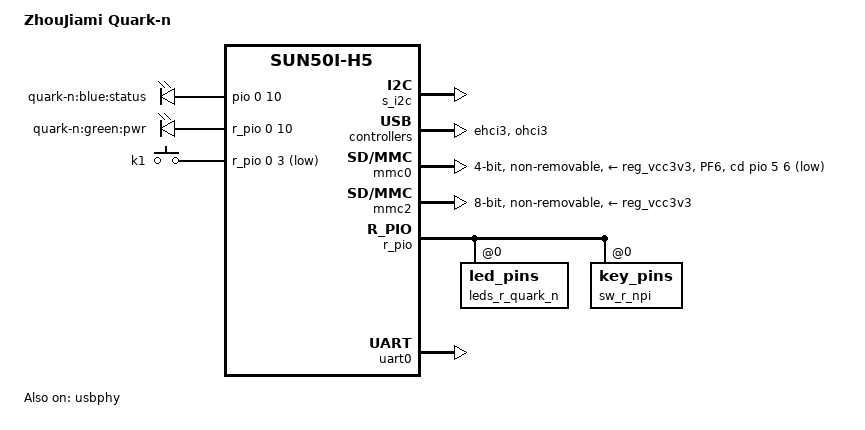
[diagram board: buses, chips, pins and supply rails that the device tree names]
/dts-v1/;
#include "sun50i-h5.dtsi"
#include "sunxi-common-regulators.dtsi"

#include <dt-bindings/gpio/gpio.h>
#include <dt-bindings/input/input.h>
#include <dt-bindings/pinctrl/sun4i-a10.h>

/ {
    model = "ZhouJiami Quark-n";
    compatible = "friendlyarm,nanopi-neo2","quark-n", "allwinner,sun50i-h5";
    
	aliases {
		serial0 = &uart0;
		i2c5 = &s_i2c;
	};

	chosen {
		stdout-path = "serial0:115200n8";
	};

	leds {
		compatible = "gpio-leds";
		pinctrl-names = "default";
		pinctrl-0 = <&leds_quark_n>, <&leds_r_quark_n>;

		status {
			label = "quark-n:blue:status";
			gpios = <&pio 0 10 GPIO_ACTIVE_HIGH>;
			linux,default-trigger = "heartbeat";
		};

		pwr {
			label = "quark-n:green:pwr";
			gpios = <&r_pio 0 10 GPIO_ACTIVE_HIGH>;
			default-state = "on";
		};
	};

	r_gpio_keys {
		compatible = "gpio-keys";
		input-name = "k1";
		pinctrl-names = "default";
		pinctrl-0 = <&sw_r_npi>;

		k1@0 {
			label = "k1";
			linux,code = <KEY_POWER>;
			gpios = <&r_pio 0 3 GPIO_ACTIVE_LOW>;
		};
	};
	s_i2c: i2c@01f02400 {
		compatible = "allwinner,sun6i-a31-i2c";
		reg = <0x01f02400 0x400>;
		status = "okay";
		#address-cells = <1>;
		#size-cells = <0>;
	};
};

&ehci3 {
	status = "okay";
};

&mmc0 {
	pinctrl-names = "default";
	pinctrl-0 = <&mmc0_pins>, <&mmc0_cd_pin>;
	cd-gpios = <&pio 5 6 GPIO_ACTIVE_HIGH>;
	vmmc-supply = <&reg_vcc3v3>;
	bus-width = <4>;
	boot_device=<0>;
	non-removable;
	cd-inverted;
	status = "okay";
};

&mmc2 {
	pinctrl-names = "default";
	pinctrl-0 = <&mmc2_8bit_pins>;
	vmmc-supply = <&reg_vcc3v3>;
	bus-width = <8>;
	boot_device=<0>;
	non-removable;
	cap-mmc-hw-reset;
	status = "okay";
};

&mmc2_8bit_pins {
	drive-strength = <40>;
	bias-pull-up;
};


&ohci3 {
	status = "okay";
};

&pio {
	leds_quark_n: led_pins@0 {
		pins = "PA10";
		function = "gpio_out";
	};
    mmc0_cd_pin: mmc0_cd_pin@0 {
        allwinner,pins = "PF6";
        allwinner,function = "gpio_in";
        allwinner,drive = <SUN4I_PINCTRL_10_MA>;
        allwinner,pull = <SUN4I_PINCTRL_PULL_UP>;
    };
};

&r_pio {
	leds_r_quark_n: led_pins@0 {
		pins = "PL10";
		function = "gpio_out";
	};

	sw_r_npi: key_pins@0 {
		pins = "PL3";
		function = "gpio_in";
	};
};

&uart0 {
	pinctrl-names = "default";
	pinctrl-0 = <&uart0_pa_pins>;
	status = "okay";
};

&usbphy {
	status = "okay";
};
